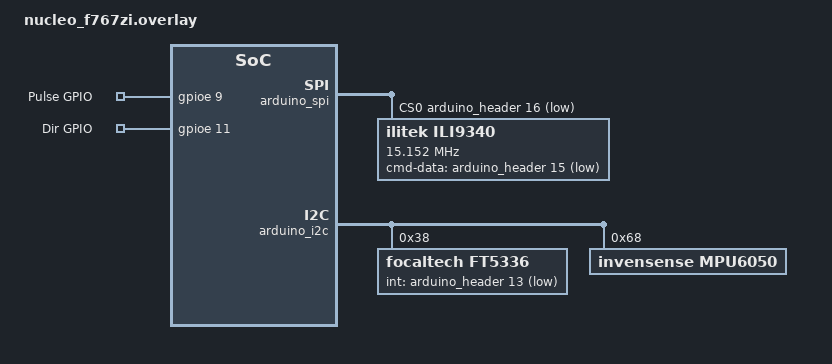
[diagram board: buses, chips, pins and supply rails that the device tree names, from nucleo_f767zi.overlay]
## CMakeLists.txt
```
# SPDX-License-Identifier: Apache-2.0

# Re-direct the directory where the 'boards' directory is found from
# $ZEPHYR_BASE to this directory.
# set(BOARD_ROOT ${CMAKE_CURRENT_LIST_DIR})


set(BOARD nucleo_f767zi) # nucleo_h745zi_q_m7)
set(SHIELD adafruit_2_8_tft_touch_v2)
# set(SHIELD "adafruit_2_8_tft_touch_v2 esp_8266_arduino")

cmake_minimum_required(VERSION 3.13.1)

find_package(Zephyr REQUIRED HINTS $ENV{ZEPHYR_BASE})
project(rail@h745zi)

# zephyr_library_compile_options(-std=c++17 -Wall -Wextra -Wno-unused-variable -Wno-comment)


FILE(GLOB app_sources src/*.cpp)
target_sources(app PRIVATE ${app_sources})
```

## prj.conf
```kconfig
CONFIG_EARLY_CONSOLE=y

CONFIG_HEAP_MEM_POOL_SIZE=16384
CONFIG_MAIN_STACK_SIZE=2048

CONFIG_INIT_STACKS=y
CONFIG_THREAD_STACK_INFO=y
CONFIG_SYSTEM_WORKQUEUE_STACK_SIZE=4096
CONFIG_BT_RX_STACK_SIZE=4096

CONFIG_CONSOLE_SUBSYS=y
CONFIG_CONSOLE_GETLINE=y

CONFIG_LOG=y
CONFIG_ASSERT=y

CONFIG_DISPLAY=y
CONFIG_DISPLAY_LOG_LEVEL_ERR=y

CONFIG_I2C=y
# CONFIG_SPI=y

###############################################################################
### lvgl
CONFIG_LVGL=y
CONFIG_LVGL_HOR_RES_MAX=320
CONFIG_LVGL_VER_RES_MAX=240

# Make sure that the rendering task is always executed if we call
# lv_task_handler by setting the refresh period to zero
CONFIG_LVGL_DISP_DEF_REFR_PERIOD=0
# CONFIG_LVGL_COLOR_SCREEN_TRANSP=y
CONFIG_LVGL_ANTIALIAS=y

# CONFIG_LVGL_USE_ANIMATION=y
# CONFIG_LVGL_USE_SHADOW=y
# CONFIG_LVGL_USE_OUTLINE=y
# CONFIG_LVGL_USE_PATTERN=y
# CONFIG_LVGL_USE_VALUE_STR=y
# CONFIG_LVGL_USE_BLEND_MODES=y
# CONFIG_LVGL_USE_OPA_SCALE=y
# CONFIG_LVGL_USE_IMG_TRANSFORM=y
# CONFIG_LVGL_USE_GROUP=y
# CONFIG_LVGL_USE_GPU=y
# CONFIG_LVGL_IMG_CF_INDEXED=y
# CONFIG_LVGL_IMG_CF_ALPHA=y
# CONFIG_LVGL_USE_FILESYSTEM=y
# CONFIG_LVGL_DOUBLE_VDB=y
# CONFIG_LVGL_USE_BIDI=y
# CONFIG_LVGL_USE_ARABIC_PERSIAN_CHARS=y
# CONFIG_LVGL_USE_OBJ_REALIGN=y
CONFIG_LVGL_USE_LABEL=y
# CONFIG_LVGL_LABEL_TEXT_SEL=y
# CONFIG_LVGL_LABEL_LONG_TXT_HINT=y
# CONFIG_LVGL_USE_IMG=y
# CONFIG_LVGL_USE_LINE=y
# CONFIG_LVGL_USE_ARC=y
CONFIG_LVGL_USE_CONT=y
CONFIG_LVGL_USE_PAGE=y
# CONFIG_LVGL_USE_WIN=y
CONFIG_LVGL_USE_TABVIEW=y
# CONFIG_LVGL_USE_TILEVIEW=y
# CONFIG_LVGL_USE_CALENDAR=y
# CONFIG_LVGL_CALENDAR_WEEK_STARTS_MONDAY=y
# CONFIG_LVGL_USE_SPINNER=y
# CONFIG_LVGL_USE_CANVAS=y
CONFIG_LVGL_USE_BAR=y
# CONFIG_LVGL_USE_LINEMETER=y
# CONFIG_LVGL_USE_GAUGE=y
# CONFIG_LVGL_USE_CHART=y
# CONFIG_LVGL_USE_TABLE=y
# CONFIG_LVGL_USE_LED=y
# CONFIG_LVGL_USE_MSGBOX=y
# CONFIG_LVGL_USE_TEXTAREA=y
# CONFIG_LVGL_USE_SPINBOX=y
CONFIG_LVGL_USE_BTN=y
# CONFIG_LVGL_USE_IMGBTN=y
# CONFIG_LVGL_IMGBTN_TILED=y
CONFIG_LVGL_USE_BTNMATRIX=y
# CONFIG_LVGL_USE_KEYBOARD=y
# CONFIG_LVGL_USE_CHECKBOX=y
# CONFIG_LVGL_USE_LIST=y
# CONFIG_LVGL_USE_DROPDOWN=y
# CONFIG_LVGL_USE_ROLLER=y
CONFIG_LVGL_USE_SLIDER=y
# CONFIG_LVGL_USE_SWITCH=y
# CONFIG_LVGL_USE_LED=y
# CONFIG_LVGL_USE_OBJMASK=y
CONFIG_LVGL_USE_THEME_MATERIAL=y
# CONFIG_LVGL_FONT_MONTSERRAT_8=y
# CONFIG_LVGL_FONT_MONTSERRAT_10=y
CONFIG_LVGL_FONT_MONTSERRAT_12=y
# CONFIG_LVGL_FONT_MONTSERRAT_14=y
CONFIG_LVGL_FONT_MONTSERRAT_16=y
# CONFIG_LVGL_FONT_MONTSERRAT_18=y
# CONFIG_LVGL_FONT_MONTSERRAT_20=y
# CONFIG_LVGL_FONT_MONTSERRAT_22=y
CONFIG_LVGL_FONT_MONTSERRAT_24=y
# CONFIG_LVGL_FONT_MONTSERRAT_26=y
CONFIG_LVGL_FONT_MONTSERRAT_28=y
# CONFIG_LVGL_FONT_MONTSERRAT_30=y
# CONFIG_LVGL_FONT_MONTSERRAT_32=y
# CONFIG_LVGL_FONT_MONTSERRAT_34=y
# CONFIG_LVGL_FONT_MONTSERRAT_36=y
# CONFIG_LVGL_FONT_MONTSERRAT_38=y
# CONFIG_LVGL_FONT_MONTSERRAT_40=y
# CONFIG_LVGL_FONT_MONTSERRAT_42=y
# CONFIG_LVGL_FONT_MONTSERRAT_44=y
# CONFIG_LVGL_FONT_MONTSERRAT_46=y
# CONFIG_LVGL_FONT_MONTSERRAT_48=y
# CONFIG_LVGL_FONT_MONTSERRAT_12_SUBPX=y
# CONFIG_LVGL_FONT_MONTSERRAT_28_COMPRESSED=y
# CONFIG_LVGL_FONT_DEJAVU_16_PERSIAN_HEBREW=y
# CONFIG_LVGL_FONT_SIMSUN_16_CJK=y
# CONFIG_LVGL_FONT_UNSCII_8=y
# CONFIG_LVGL_USE_FONT_COMPRESSED=y
# CONFIG_LVGL_USE_FONT_SUBPX=y

# CONFIG_LVGL_VDB_SIZE=64
# CONFIG_LVGL_DPI=148
# CONFIG_LVGL_BITS_PER_PIXEL=1
# CONFIG_LVGL_COLOR_DEPTH=LVGL_COLOR_DEPTH_1

###############################################################################
### sensors
CONFIG_SENSOR=y
CONFIG_MPU6050=y
CONFIG_MPU6050_TRIGGER_NONE=y
CONFIG_CBPRINTF_FP_SUPPORT=y

# CONFIG_BMI160=y

###############################################################################
### networking
# CONFIG_NETWORKING=y

# CONFIG_NET_CONFIG_AUTO_INIT=y

# # #CONFIG_NET_TX_STACK_SIZE=2048
# # #CONFIG_NET_RX_STACK_SIZE=2048

# # #CONFIG_NET_PKT_RX_COUNT=10
# # #CONFIG_NET_PKT_TX_COUNT=10
# # #CONFIG_NET_BUF_RX_COUNT=20
# # #CONFIG_NET_BUF_TX_COUNT=20
# # #CONFIG_NET_MAX_CONTEXTS=10


# # CONFIG_NET_IPV4=y
# # CONFIG_NET_IPV6=n

# # CONFIG_NET_TCP=y

# # CONFIG_NET_LOG=y
# # CONFIG_INIT_STACKS=y

# # #CONFIG_NET_STATISTICS=y
# # #CONFIG_NET_STATISTICS_PERIODIC_OUTPUT=n

# CONFIG_WIFI=y
# CONFIG_WIFI_LOG_LEVEL_ERR=y
# # # CONFIG_NET_L2_WIFI_SHELL=y
```

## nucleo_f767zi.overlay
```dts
/*
 *
 * SPDX-License-Identifier: Apache-2.0
 */
 / {
	gpio_keys {
		compatible = "gpio-keys";
		pulse_gpio: pulse_gpio {
			gpios = <&gpioe 9 GPIO_ACTIVE_HIGH>; /* D6 */
			label = "Pulse GPIO";
		};
		dir_gpio: dir_gpio {
			gpios = <&gpioe 11 GPIO_ACTIVE_HIGH>; /* D5 */
			label = "Dir GPIO";
		};
	};
	aliases {
		pulse = &pulse_gpio;
        dir = &dir_gpio;
	};
};

&arduino_spi {
	status = "okay";
	cs-gpios = <&arduino_header 16 GPIO_ACTIVE_LOW>,	/* D10 */
		   <&arduino_header 12 GPIO_ACTIVE_LOW>;	/* D04 */


	ili9340@0 {
		compatible = "ilitek,ili9340";
		label = "ILI9340";
		spi-max-frequency = <15151515>;
		reg = <0>;
		cmd-data-gpios = <&arduino_header 15 GPIO_ACTIVE_LOW>;	/* D9 */
		pixel-format = <ILI9XXX_PIXEL_FORMAT_RGB888>;
		rotation = <270>;
		frmctr1 = [00 18];
		pwctrl1 = [23 00];
		vmctrl1 = [3e 28];
		vmctrl2 = [86];
		pgamctrl = [0f 31 2b 0c 0e 08 4e f1 37 07 10 03 0e 09 00];
		ngamctrl = [00 0e 14 03 11 07 31 c1 48 08 0f 0c 31 36 0f];
	};
};

&arduino_i2c {
	status = "okay";
	touch_controller: ft5336@38 {
		compatible = "focaltech,ft5336";
		reg = <0x38>;
		label = "FT5336";
		/* Uncomment if IRQ line is available (requires to solder jumper) */
		int-gpios = <&arduino_header 13 GPIO_ACTIVE_LOW>; /* D7 */
	};

	mpu6050@68 {
		compatible = "invensense,mpu6050";
		reg = <0x68>;
		status = "okay";
		label = "MPU6050";
		/* int-gpios = <&arduino_header 2 GPIO_ACTIVE_HIGH>; */ /* D7 */
	};
};

# &arduino_serial {
# 	status = "okay";
# 	current-speed = <115200>;
# 
# 	esp8266 {
# 		compatible = "espressif,esp";
# 		label = "esp8266";
# 		status = "okay";
# 	};
# };
```

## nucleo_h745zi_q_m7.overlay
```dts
/*
 * Copyright (c) 2019 PHYTEC Messtechnik GmbH
 *
 * SPDX-License-Identifier: Apache-2.0
 */
 / {
	gpio_keys {
		compatible = "gpio-keys";
		pulse_gpio: pulse_gpio {
			gpios = <&gpioa 8 GPIO_ACTIVE_HIGH>; /* D6 */
			label = "Pulse GPIO";
		};
		dir_gpio: dir_gpio {
			gpios = <&gpioe 11 GPIO_ACTIVE_HIGH>; /* D5 */
			label = "Dir GPIO";
		};
	};
	aliases {
		// led0 = &green_led;
		led1 = &yellow_led;
		pulse = &pulse_gpio;
        dir = &dir_gpio;
	};
};

&arduino_i2c {
	status = "okay";
	touch_controller: ft5336@38 {
		compatible = "focaltech,ft5336";
		reg = <0x38>;
		label = "FT5336";
		/* Uncomment if IRQ line is available (requires to solder jumper) */
		/* int-gpios = <&arduino_header 13 GPIO_ACTIVE_LOW>; */ /* D7 */
	};

	mpu6050@68 {
		compatible = "invensense,mpu6050";
		reg = <0x68>;
		status = "okay";
		label = "MPU6050";
		int-gpios = <&arduino_header 2 GPIO_ACTIVE_HIGH>; /* D7 */
	};
};

// &i2c2 {
// 	status = "okay";
// };
```

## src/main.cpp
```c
/*
 * Copyright (c) 2018 Google LLC.
 *
 * SPDX-License-Identifier: Apache-2.0
 */

#include <stdbool.h>
#include <stdio.h>
#include <stdlib.h>
#include <string.h>
#include <zephyr.h>
#include <zephyr/types.h>

#include <device.h>
#include <init.h>
#include <kernel.h>
#include <sys/byteorder.h>
#include <sys/crc.h>
#include <sys/printk.h>

#include <console/console.h>

#include <lvgl.h>

#include <drivers/display.h>

#include <logging/log.h>
LOG_MODULE_REGISTER(myapp);

#include "Display.h"
#include "GyroWaiter.h"
#include "Stepper.h"

/* size of stack area used by each thread */
#define STACKSIZE 8192
/* scheduling priority used by each thread */
#define PRIORITY 7
/* delay between updates (in ms) */
#define SLEEPTIME 500

K_THREAD_STACK_DEFINE(threadStepper_stack_area, STACKSIZE);
static struct k_thread threadStepper_data;
void threadStepper(void *stepperV, void *dummy2, void *dummy3) {
  ARG_UNUSED(dummy2);
  ARG_UNUSED(dummy3);
  Stepper *stepper = static_cast<Stepper *>(stepperV);
  stepper->loop();
}

#define CONSOLE_HELP                                                           \
  "   s -> do a single shot\n"                                                 \
  "   $int -> move relative\n"
K_THREAD_STACK_DEFINE(threadConsole_stack_area, STACKSIZE);
static struct k_thread threadConsole_data;
void threadConsole(void *stepperV, void *waiterV, void *dummy3) {
  ARG_UNUSED(dummy3);
  Stepper *stepper = static_cast<Stepper *>(stepperV);
  GyroWaiter *waiter = static_cast<GyroWaiter *>(waiterV);
  int rc = 0;

  k_sleep(K_MSEC(2000));
  printk(CONSOLE_HELP);
  while (1) {
    printk("$ ");
    char *s = console_getline();
    printk("<-- %s\n", s);

    if (s[0] == 's') {
      rc = waiter->wait();
      if (rc != 0) {
        printk("!!! returned rc=%i", rc);
      }
    } else {
      int x = atoi(s);
      stepper->go(x);
      // stepper->wait();
    }

    lv_task_handler();
    k_sleep(K_MSEC(10));
  }
}

void init_console(Stepper *stepper, GyroWaiter *waiter) {
  console_getline_init();

  k_tid_t my_tid_console = k_thread_create(
      &threadConsole_data, threadConsole_stack_area,
      K_THREAD_STACK_SIZEOF(threadConsole_stack_area), threadConsole, stepper,
      waiter, NULL, PRIORITY, 0, K_NO_WAIT);
  k_thread_name_set(&threadConsole_data, "thread_c");
}

K_SEM_DEFINE(threadStepper_sem, 1, 1);
void main(void) {
  const struct device *display_dev =
      device_get_binding(CONFIG_LVGL_DISPLAY_DEV_NAME);
  if (display_dev == NULL) {
    LOG_ERR("display device not found.");
    return;
  }
  Display display(display_dev);
  Stepper stepper(&threadStepper_sem, &display);

  const char *const mpu_label = DT_LABEL(DT_INST(0, invensense_mpu6050));
  const struct device *mpu6050 = device_get_binding(mpu_label);
  GyroWaiter waiter(mpu6050, &threadStepper_sem, &display);

  init_console(&stepper, &waiter);

  k_tid_t my_tid_stepper = k_thread_create(
      &threadStepper_data, threadStepper_stack_area,
      K_THREAD_STACK_SIZEOF(threadStepper_stack_area), threadStepper, &stepper,
      NULL, NULL, PRIORITY, 0, K_NO_WAIT);
  k_thread_name_set(&threadStepper_data, "thread_r");

  k_thread_start(&threadConsole_data);
  k_thread_start(&threadStepper_data);
}
```

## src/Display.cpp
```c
#include "Display.h"
#include <logging/log.h>
LOG_MODULE_REGISTER(display);

void Display::init_styles() {
  lv_style_init(&style_normal);
  lv_style_set_text_font(&style_normal, LV_STATE_DEFAULT, font_normal);

  lv_style_init(&style_button);
  lv_style_set_bg_color(&style_button, LV_STATE_DEFAULT, LV_COLOR_GRAY);
  lv_style_set_bg_color(&style_button, LV_STATE_PRESSED, LV_COLOR_RED);
  lv_style_set_radius(&style_button, LV_STATE_DEFAULT, 5);
  lv_style_set_bg_opa(&style_button, LV_STATE_DEFAULT, LV_OPA_COVER);

  lv_style_init(&style_box);
  lv_style_set_bg_color(&style_box, LV_STATE_DEFAULT, LV_COLOR_BLACK);
  lv_style_set_bg_opa(&style_box, LV_STATE_DEFAULT, LV_OPA_COVER);
}

void Display::init_tabview() {
  tabview = lv_tabview_create(lv_scr_act(), NULL);
  lv_obj_align(tabview, NULL, LV_ALIGN_IN_BOTTOM_LEFT, 0, 0);
  lv_obj_add_style(tabview, 0, &style_normal);
}

Display::Display(const struct device *display_dev) {
  LOG_INF("initialize display...");
  init_styles();
  init_tabview();
  LOG_INF("...initialize display done");

  lv_task_handler();
  display_blanking_off(display_dev);
}

lv_obj_t *Display::make_tab(const char *title) {
  return lv_tabview_add_tab(tabview, title);
}

lv_obj_t *Display::add_label(lv_obj_t *parent) {
  lv_obj_t *lbl = lv_label_create(parent, NULL);
  lv_obj_add_style(lbl, 0, &style_normal);
  return lbl;
}

lv_obj_t *Display::add_panel(lv_obj_t *parent) {
  lv_obj_t *panel = lv_obj_create(parent, NULL);
  lv_obj_add_style(panel, 0, &style_box);
  return panel;
}

lv_obj_t *Display::add_button(lv_obj_t *parent, const char *label_text,
                              int width) {
  lv_obj_t *btn = lv_btn_create(parent, NULL);
  lv_obj_set_height(btn, 60);
  lv_obj_set_width(btn, width);
  lv_obj_add_style(btn, 0, &style_button);
  lv_obj_t *label = lv_label_create(btn, NULL);
  lv_label_set_text(label, label_text);
  lv_obj_add_style(label, 0, &style_normal);
  return btn;
}
```

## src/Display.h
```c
#ifndef __DISPLAY_H_
#define __DISPLAY_H_

#include <drivers/display.h>
#include <lvgl.h>

class Display {
  lv_obj_t *position_label;
  lv_obj_t *target_position_label;
  lv_obj_t *secondary_label;

  void init_styles();
  void fill_nav_panel(lv_obj_t *panel);
  void init_coarse_tab(lv_obj_t *parent);

public:
  Display(const struct device *display_dev);
  lv_obj_t *getPositionLabel() { return position_label; };
  lv_obj_t *getTargetPositionLabel() { return target_position_label; };
  lv_obj_t *getSecondaryLabel() { return secondary_label; };
};

#endif // __DISPLAY_H_
```

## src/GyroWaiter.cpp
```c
#include <stdbool.h>
#include <stdio.h>
#include <stdlib.h>
#include <string.h>
#include <zephyr.h>
#include <zephyr/types.h>

#include <device.h>
#include <init.h>
#include <kernel.h>
#include <net/buf.h>
#include <sys/byteorder.h>
#include <sys/crc.h>
#include <sys/printk.h>

#include <lvgl.h>

#include <drivers/display.h>
#include <drivers/sensor.h>

#include "GyroWaiter.h"

GyroWaiter::GyroWaiter(const struct device *_mpu6050,
                       struct k_sem *_threadStepper_sem, Display *display) {
  threadStepper_sem = _threadStepper_sem;

  mpu6050 = _mpu6050;
};
int GyroWaiter::wait() {
  char gyro_str[40] = {0};
  struct sensor_value gyro[3];

  double cyclic_buffer[num_of_samples * 3] = {1, 1, 1};
  int idx = 1;
  int count = 0;
  int rc = 0;

  printk("wait for semathor...\n");
  k_sem_take(threadStepper_sem, K_FOREVER);
  printk("wait for stall...\n");
  while (1) {
    rc = sensor_sample_fetch(mpu6050);
    if (rc == 0) {
      rc = sensor_channel_get(mpu6050, SENSOR_CHAN_GYRO_XYZ, gyro);
    }
    if (rc != 0) {
      break;
    }
    sprintf(gyro_str, "%f\n%f\n%f", sensor_value_to_double(&gyro[0]),
            sensor_value_to_double(&gyro[1]), sensor_value_to_double(&gyro[2]));
    printk("... %s\n", gyro_str);
    if (label) {
      lv_label_set_text(label, gyro_str);
    }

    cyclic_buffer[idx * 3] = sensor_value_to_double(&gyro[0]);
    cyclic_buffer[idx * 3 + 1] = sensor_value_to_double(&gyro[1]);
    cyclic_buffer[idx * 3 + 2] = sensor_value_to_double(&gyro[2]);

    double sum = 0;
    for (int i = 0; i < num_of_samples * 3; i++) {
      if (cyclic_buffer[i] > 0) {
        sum += cyclic_buffer[i];
      } else {
        sum -= cyclic_buffer[i];
      }
    }

    printk("... %i:sum = %f ...\n", count, sum);
    if (sum < boundary) {
      printk("... stalled\n");
      break;
    }

    if (count > bail_count) {
      printk("... bail count exceeded: %i > %i\n", count, bail_count);
      rc = -1;
      break;
    }

    idx = (++idx) % num_of_samples;
    k_sleep(K_MSEC(sleep_msec));
    ++count;
  }
  k_sem_give(threadStepper_sem);
  return rc;
};
```

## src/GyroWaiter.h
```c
#ifndef GYRO_WAITER_H
#define GYRO_WAITER_H
#include <stdbool.h>
#include <stdio.h>
#include <stdlib.h>
#include <string.h>
#include <zephyr.h>
#include <zephyr/types.h>

#include <device.h>
#include <init.h>
#include <kernel.h>
#include <net/buf.h>
#include <sys/byteorder.h>
#include <sys/crc.h>
#include <sys/printk.h>

#include <console/console.h>

#include <lvgl.h>

#include <drivers/display.h>
#include <drivers/gpio.h>
#include <drivers/sensor.h>

class GyroWaiter {
  const struct device *mpu6050;
  struct k_sem *threadStepper_sem;
  lv_obj_t *label;
  int num_of_samples = 4;
  double boundary = 0.1 * num_of_samples;
  int bail_count = 400;
  int sleep_msec = 50;

public:
  GyroWaiter(const struct device *mpu6050, struct k_sem *_threadStepper_sem, lv_obj_t *_label);
  int wait();
};
#endif /* GYRO_WAITER_H */
```

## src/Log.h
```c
#ifndef __LOG_H_
#define __LOG_H_

#ifndef LOG_LEVEL
#define LOG_LEVEL CONFIG_LOG_DEFAULT_LEVEL
#endif // LOG_LEVEL
#include <logging/log.h>

#endif // __LOG_H_
```

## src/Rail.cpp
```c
#include "Rail.h"
#include <logging/log.h>
LOG_MODULE_REGISTER(rail);

void Rail::set_dir(bool to_left) {
  if (to_left) {
    led0.set(true);
    led1.set(false);
  } else {
    led0.set(false);
    led1.set(true);
  }
  if (to_left != current_to_left) {
    dir.set(to_left);
    current_to_left = to_left;
  }
}
void Rail::step(bool to_left) {
  k_sem_take(threadRail_sem, K_FOREVER);
  set_dir(to_left);
  pulse.pulse();
  if (to_left) {
    ++pos;
  } else {
    --pos;
  }
  k_sem_give(threadRail_sem);
  if (pos % 100 == 0) {
    print_to_label();
  }
};
bool Rail::is_in_pos() { return pos == target_pos; }
void Rail::run_to_target() {
  while (1) {
    if (pos < target_pos) {
      step(true);
    } else if (pos > target_pos) {
      step(false);
    } else {
      LOG_INF("...reached");
      led0.set(false);
      led1.set(false);
      break;
    }
  }
}
void Rail::print_to_label() {
  char pos_str[21] = {0};
  sprintf(pos_str, "%i > %i", target_pos, pos);
  lv_label_set_text(label, pos_str);
  lv_task_handler();
}
Rail::Rail(struct k_sem *_threadRail_sem) {
  threadRail_sem = _threadRail_sem;

  label = lv_label_create(lv_scr_act(), NULL);
  lv_obj_align(label, NULL, LV_ALIGN_IN_TOP_LEFT, 0, 0);

  go(1);
  go(-1);
};
void Rail::loop() {
  int counter = 0;
  while (1) {
    if (!is_in_pos()) {
      run_to_target();
      print_to_label();
    }
    if((++counter)%100==0) {
      print_to_label();
    }
    k_sleep(K_MSEC(1));
  }
}
int Rail::go(int relative) {
  target_pos += relative;
  print_to_label();
  return pos;
};
```

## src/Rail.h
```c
#ifndef RAIL_H
#define RAIL_H

#include <device.h>
#include <init.h>
#include <stdbool.h>
#include <stdio.h>
#include <stdlib.h>
#include <string.h>
#include <zephyr.h>
#include <zephyr/types.h>

#include <lvgl.h>

#include <drivers/display.h>
#include <drivers/gpio.h>

#include <logging/log.h>

#define LED0_NODE DT_ALIAS(led0)
#define LED0_LABEL DT_GPIO_LABEL(LED0_NODE, gpios)
#define LED0_PIN DT_GPIO_PIN(LED0_NODE, gpios)
#define LED0_FLAGS DT_GPIO_FLAGS(LED0_NODE, gpios)
#define LED1_NODE DT_ALIAS(led1)
#define LED1_LABEL DT_GPIO_LABEL(LED1_NODE, gpios)
#define LED1_PIN DT_GPIO_PIN(LED1_NODE, gpios)
#define LED1_FLAGS DT_GPIO_FLAGS(LED1_NODE, gpios)

#define PULSE_NODE DT_ALIAS(pulse)
#define PULSE_LABEL DT_GPIO_LABEL(PULSE_NODE, gpios)
#define PULSE_PIN DT_GPIO_PIN(PULSE_NODE, gpios)
#define PULSE_FLAGS DT_GPIO_FLAGS(PULSE_NODE, gpios)
#define DIR_NODE DT_ALIAS(dir)
#define DIR_LABEL DT_GPIO_LABEL(DIR_NODE, gpios)
#define DIR_PIN DT_GPIO_PIN(DIR_NODE, gpios)
#define DIR_FLAGS DT_GPIO_FLAGS(DIR_NODE, gpios)

class GPIO {
  const struct device *dev;
  int pin = -1;
  int ret = -1;
  bool cur_value = false;

public:
  GPIO(const char *label, int _pin, int flags) {
    LOG_MODULE_DECLARE(rail);
    pin = _pin;
    dev = device_get_binding(label);
    if (dev != NULL) {
      ret = gpio_pin_configure(dev, pin, GPIO_OUTPUT_ACTIVE | flags);
      if (ret != 0) {
        LOG_ERR("Failed to configure %s pin %i", label, pin);
      }
    } else {
      LOG_ERR("Failed to get device %s", label);
    }
  };
  void set(bool value) {
    LOG_MODULE_DECLARE(rail);
    if (ret == 0) {
      if (value != cur_value) {
        cur_value = value;

        gpio_pin_set(dev, pin, value);
      }
    } else {
      LOG_WRN("Do nothing, since ret=%i", ret);
    }
  };
};

class LED : public GPIO {
public:
  LED(const char *label, int _pin, int flags) : GPIO(label, _pin, flags) {
    set(true);
    k_msleep(100);
    set(false);
  };
};

class PULSE : public GPIO {
public:
  PULSE(const char *label, int _pin, int flags) : GPIO(label, _pin, flags){};
  void pulse() {
    LOG_MODULE_DECLARE(rail);
    set(true);
    k_msleep(1);
    set(false);
    k_msleep(1);
  };
};

class Rail {
  struct k_sem *threadRail_sem;
  int pos = 0;
  int target_pos = 0;
  lv_obj_t *label;
  int sleep_msec = 1;
  bool current_to_left = true;

  LED led0 = LED(LED0_LABEL, LED0_PIN, LED0_FLAGS);
  LED led1 = LED(LED1_LABEL, LED1_PIN, LED1_FLAGS);
  PULSE pulse = PULSE(PULSE_LABEL, PULSE_PIN, PULSE_FLAGS);
  GPIO dir = GPIO(DIR_LABEL, DIR_PIN, DIR_FLAGS);

  void set_dir(bool to_left);
  void step(bool to_left);
  bool is_in_pos();
  void run_to_target();
  void print_to_label();

public:
  Rail(struct k_sem *_threadRail_sem);
  void loop();
  int go(int relative);
};

#endif /* RAIL_H */
```

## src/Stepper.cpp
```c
#include "Stepper.h"
#include <logging/log.h>
LOG_MODULE_REGISTER(stepper);

void Stepper::fill_nav_panel(Display *display, lv_obj_t *panel) {
  lv_obj_t *l_left_btn = display->add_button(panel, "<<<", 60);
  lv_obj_align(l_left_btn, NULL, LV_ALIGN_IN_TOP_LEFT, 5, 2);
  lv_obj_set_event_cb(l_left_btn, [](lv_obj_t *btn, lv_event_t event) {
    if (event == LV_EVENT_CLICKED) {
      printf("go(-12800);");
    }
  });
  lv_obj_t *left_btn = display->add_button(panel, "<<", 60);
  lv_obj_align(left_btn, NULL, LV_ALIGN_IN_TOP_LEFT, 75, 2);
  lv_obj_set_event_cb(left_btn, [](lv_obj_t *btn, lv_event_t event) {
    if (event == LV_EVENT_CLICKED) {
      printf("go(-1280);");
    }
  });
  lv_obj_t *right_btn = display->add_button(panel, ">>", 60);
  lv_obj_align(right_btn, NULL, LV_ALIGN_IN_TOP_RIGHT, -75, 2);
  lv_obj_set_event_cb(right_btn, [](lv_obj_t *btn, lv_event_t event) {
    if (event == LV_EVENT_CLICKED) {
      printf("go(1280);");
    }
  });
  lv_obj_t *r_right_btn = display->add_button(panel, ">>>", 60);
  lv_obj_align(r_right_btn, NULL, LV_ALIGN_IN_TOP_RIGHT, -5, 2);
  lv_obj_set_event_cb(r_right_btn, [](lv_obj_t *btn, lv_event_t event) {
    if (event == LV_EVENT_CLICKED) {
      printf("go(12800);");
    }
  });

  // lv_obj_t *slider = lv_slider_create(panel, NULL);
  // lv_obj_align(slider, NULL, LV_ALIGN_IN_BOTTOM_MID, 0, -10);
  // lv_slider_set_range(slider, 0, 100);
  // lv_slider_set_value(slider, 50, 0);
  // // lv_obj_set_width(slider, LV_PCT(95))
}

void Stepper::init_coarse_tab(Display *display, lv_obj_t *parent) {
  lv_obj_t *panel_nav = display->add_panel(parent);
  lv_obj_align(panel_nav, NULL, LV_ALIGN_IN_TOP_LEFT, 0, 30);
  lv_obj_set_height(panel_nav, 90);
  lv_obj_set_width(panel_nav, 320);
  fill_nav_panel(display, panel_nav);

  lv_obj_t *header = lv_obj_create(parent, NULL);
  lv_obj_align(header, NULL, LV_ALIGN_IN_TOP_LEFT, 0, 0);
  lv_obj_set_height(header, 20);
  lv_obj_set_width(header, 320);
  //   lv_obj_set_width(header, LV_PCT(100));

  label = display->add_label(header);
  lv_obj_align(label, NULL, LV_ALIGN_IN_TOP_LEFT, 20, 2);
  target_label = display->add_label(header);
  lv_obj_align(target_label, NULL, LV_ALIGN_IN_TOP_MID, 20, 2);
}

K_SEM_DEFINE(_is_moving_sem, 1, 1);
Stepper::Stepper(struct k_sem *_threadStepper_sem, Display *display) {
  threadStepper_sem = _threadStepper_sem;
  is_moving_sem = &_is_moving_sem;

  init_coarse_tab(display, display->make_tab("coarse"));

  // TEST...
  dir.set(true);
  k_sleep(K_MSEC(10));
  dir.set(false);
  k_sleep(K_MSEC(10));
  go(1);
  k_sleep(K_MSEC(10));
  go(-1);
  k_sleep(K_MSEC(10));
  go(1);
  k_sleep(K_MSEC(10));
  go(-1);
  k_sleep(K_MSEC(10));
}

void Stepper::set_dir(bool to_left) {
  if (to_left) {
    led0.set(true);
    led1.set(false);
  } else {
    led0.set(false);
    led1.set(true);
  }
  if (to_left != current_to_left) {
    dir.set(to_left);
    current_to_left = to_left;
  }
}
void Stepper::step(bool to_left) {
  k_sem_take(threadStepper_sem, K_FOREVER);
  set_dir(to_left);
  pulse.pulse();
  if (to_left) {
    ++pos;
  } else {
    --pos;
  }
  k_sem_give(threadStepper_sem);
  if (pos % 100 == 0) {
    print_to_label();
  }
}
bool Stepper::is_in_pos() { return pos == target_pos; }
void Stepper::run_to_target() {
  if (k_sem_take(is_moving_sem, K_MSEC(50)) != 0) {
    LOG_INF("run_to_target: did not get Semaphore");
  } else {
    while (1) {
      if (pos < target_pos) {
        step(true);
      } else if (pos > target_pos) {
        step(false);
      } else {
        LOG_INF("...reached");
        led0.set(false);
        led1.set(false);
        break;
      }
    }
    k_sem_give(is_moving_sem);
  }
}
void Stepper::print_to_label() {
  char pos_str[21] = {0};
  sprintf(pos_str, "curr: %i", pos);
  lv_label_set_text(label, pos_str);
  sprintf(pos_str, "dest: %i", target_pos);
  lv_label_set_text(target_label, pos_str);
  lv_task_handler();
}
void Stepper::loop() {
  int counter = 0;
  while (1) {
    if (!is_in_pos()) {
      run_to_target();
      print_to_label();
    }
    if ((++counter) % 100 == 0) {
      print_to_label();
    }
    k_sleep(K_MSEC(1));
  }
}
int Stepper::go(int relative) {
  if (relative != 0) {
    print_to_label();
    target_pos += relative;
  }
  return pos;
};

void Stepper::wait() {
  k_sem_take(is_moving_sem, K_FOREVER);
  k_sem_give(is_moving_sem);
}

int Stepper::go_and_wait(int relative) {
  int res = go(relative);
  while (!is_in_pos()) {
    k_sleep(K_MSEC(1));
  }
  return res;
}
```

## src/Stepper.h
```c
#ifndef STEPPER_H
#define STEPPER_H

#include <device.h>
#include <init.h>
#include <stdbool.h>
#include <stdio.h>
#include <stdlib.h>
#include <string.h>
#include <zephyr.h>
#include <zephyr/types.h>

#include <lvgl.h>

#include <drivers/display.h>
#include <drivers/gpio.h>

#include <logging/log.h>

#define LED0_NODE DT_ALIAS(led0)
#define LED0_LABEL DT_GPIO_LABEL(LED0_NODE, gpios)
#define LED0_PIN DT_GPIO_PIN(LED0_NODE, gpios)
#define LED0_FLAGS DT_GPIO_FLAGS(LED0_NODE, gpios)
#define LED1_NODE DT_ALIAS(led1)
#define LED1_LABEL DT_GPIO_LABEL(LED1_NODE, gpios)
#define LED1_PIN DT_GPIO_PIN(LED1_NODE, gpios)
#define LED1_FLAGS DT_GPIO_FLAGS(LED1_NODE, gpios)
#define LED2_NODE DT_ALIAS(led2)
#define LED2_LABEL DT_GPIO_LABEL(LED2_NODE, gpios)
#define LED2_PIN DT_GPIO_PIN(LED2_NODE, gpios)
#define LED2_FLAGS DT_GPIO_FLAGS(LED2_NODE, gpios)

#define PULSE_NODE DT_ALIAS(pulse)
#define PULSE_LABEL DT_GPIO_LABEL(PULSE_NODE, gpios)
#define PULSE_PIN DT_GPIO_PIN(PULSE_NODE, gpios)
#define PULSE_FLAGS DT_GPIO_FLAGS(PULSE_NODE, gpios)
#define DIR_NODE DT_ALIAS(dir)
#define DIR_LABEL DT_GPIO_LABEL(DIR_NODE, gpios)
#define DIR_PIN DT_GPIO_PIN(DIR_NODE, gpios)
#define DIR_FLAGS DT_GPIO_FLAGS(DIR_NODE, gpios)

class GPIO {
  const struct device *dev;
  int pin = -1;
  int ret = -1;
  bool cur_value = false;

public:
  GPIO(const char *label, int _pin, int flags) {
    LOG_MODULE_DECLARE(stepper);
    pin = _pin;
    dev = device_get_binding(label);
    if (dev != NULL) {
      ret = gpio_pin_configure(dev, pin, GPIO_OUTPUT_ACTIVE | flags);
      if (ret != 0) {
        LOG_ERR("Failed to configure %s pin %i", label, pin);
      }
    } else {
      LOG_ERR("Failed to get device %s", label);
    }
  };
  void set(bool value) {
    LOG_MODULE_DECLARE(stepper);
    if (ret == 0) {
      if (value != cur_value) {
        cur_value = value;

        gpio_pin_set(dev, pin, value);
      }
    } else {
      LOG_WRN("Do nothing, since ret=%i", ret);
    }
  };
};

class LED : public GPIO {
public:
  LED(const char *label, int _pin, int flags) : GPIO(label, _pin, flags) {
    set(true);
    k_msleep(100);
    set(false);
  };
};

class PULSE : public GPIO {
public:
  PULSE(const char *label, int _pin, int flags) : GPIO(label, _pin, flags){};
  void pulse() {
    LOG_MODULE_DECLARE(stepper);
    set(true);
    k_usleep(10);
    set(false);
    k_usleep(10);
  };
};

class Stepper {
  struct k_sem *threadStepper_sem;
  struct k_sem *is_moving_sem;
  int pos = 0;
  int target_pos = 0;
  lv_obj_t *label;
  lv_obj_t *target_label;
  int sleep_msec = 1;
  bool current_to_left = true;

  LED led0 = LED(LED0_LABEL, LED0_PIN, LED0_FLAGS);
  LED led1 = LED(LED1_LABEL, LED1_PIN, LED1_FLAGS);
  LED led2 = LED(LED2_LABEL, LED2_PIN, LED2_FLAGS);
  PULSE pulse = PULSE(PULSE_LABEL, PULSE_PIN, PULSE_FLAGS);
  GPIO dir = GPIO(DIR_LABEL, DIR_PIN, DIR_FLAGS);

  void set_dir(bool to_left);
  void step(bool to_left);
  bool is_in_pos();
  void run_to_target();
  void print_to_label();

public:
  Stepper(struct k_sem *_threadStepper_sem, lv_obj_t *_label,
          lv_obj_t *_target_label);
  void loop();
  int go(int relative);
  void wait();
  int go_and_wait(int relative);
};

#endif /* STEPPER_H */
```
